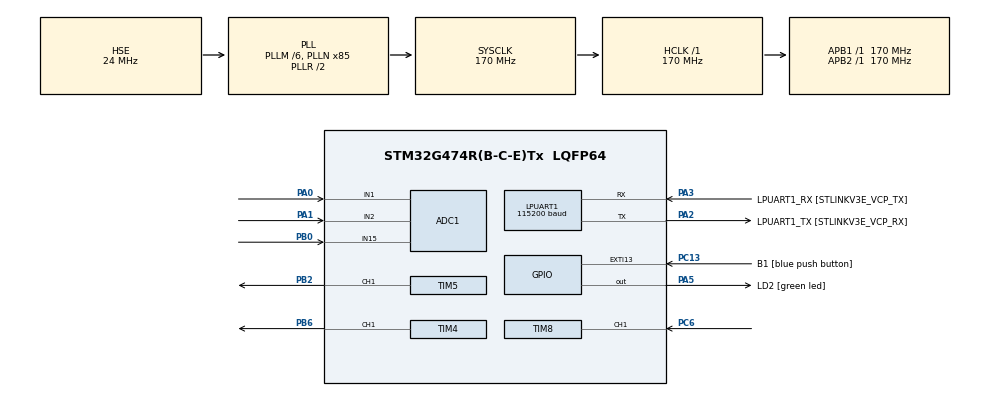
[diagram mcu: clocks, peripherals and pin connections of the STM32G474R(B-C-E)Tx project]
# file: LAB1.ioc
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ADC1.Channel-0\#ChannelRegularConversion=ADC_CHANNEL_1
ADC1.Channel-1\#ChannelRegularConversion=ADC_CHANNEL_2
ADC1.Channel-2\#ChannelRegularConversion=ADC_CHANNEL_15
ADC1.ContinuousConvMode=ENABLE
ADC1.DMAContinuousRequests=ENABLE
ADC1.ExternalTrigConv=ADC_EXTERNALTRIG_T3_TRGO
ADC1.NbrOfConversion=3
ADC1.NbrOfConversionFlag=1
ADC1.OffsetNumber-0\#ChannelRegularConversion=ADC_OFFSET_NONE
ADC1.OffsetNumber-1\#ChannelRegularConversion=ADC_OFFSET_NONE
ADC1.OffsetNumber-2\#ChannelRegularConversion=ADC_OFFSET_NONE
ADC1.Rank-0\#ChannelRegularConversion=1
ADC1.Rank-1\#ChannelRegularConversion=2
ADC1.Rank-2\#ChannelRegularConversion=3
ADC1.SamplingTime-0\#ChannelRegularConversion=ADC_SAMPLETIME_640CYCLES_5
ADC1.SamplingTime-1\#ChannelRegularConversion=ADC_SAMPLETIME_640CYCLES_5
ADC1.SamplingTime-2\#ChannelRegularConversion=ADC_SAMPLETIME_640CYCLES_5
ADC1.master=1
Dma.ADC1.0.Direction=DMA_PERIPH_TO_MEMORY
Dma.ADC1.0.EventEnable=DISABLE
Dma.ADC1.0.Instance=DMA1_Channel1
Dma.ADC1.0.MemDataAlignment=DMA_MDATAALIGN_HALFWORD
Dma.ADC1.0.MemInc=DMA_MINC_ENABLE
Dma.ADC1.0.Mode=DMA_CIRCULAR
Dma.ADC1.0.PeriphDataAlignment=DMA_PDATAALIGN_HALFWORD
Dma.ADC1.0.PeriphInc=DMA_PINC_DISABLE
Dma.ADC1.0.Polarity=HAL_DMAMUX_REQ_GEN_RISING
Dma.ADC1.0.Priority=DMA_PRIORITY_LOW
Dma.ADC1.0.RequestNumber=1
Dma.ADC1.0.SignalID=NONE
Dma.ADC1.0.SyncEnable=DISABLE
Dma.ADC1.0.SyncPolarity=HAL_DMAMUX_SYNC_NO_EVENT
Dma.ADC1.0.SyncRequestNumber=1
Dma.ADC1.0.SyncSignalID=NONE
Dma.Request0=ADC1
LPUART1.BaudRate=115200
LPUART1.WordLength=UART_WORDLENGTH_8B
Mcu.Family=STM32G4
Mcu.Name=STM32G474R(B-C-E)Tx
Mcu.Package=LQFP64
NVIC.DMA1_Channel1_IRQn=true\:0\:0\:false\:false\:true\:false\:true\:true
NVIC.EXTI15_10_IRQn=true\:0\:0\:false\:false\:true\:true\:true\:true
NVIC.PriorityGroup=NVIC_PRIORITYGROUP_4
NVIC.TIM2_IRQn=true\:0\:0\:false\:false\:true\:true\:true\:true
PA0.GPIO_Mode=GPIO_MODE_ANALOG
PA0.Mode=IN1-Single-Ended
PA0.Signal=ADC1_IN1
PA1.GPIO_Mode=GPIO_MODE_ANALOG
PA1.Mode=IN2-Single-Ended
PA1.Signal=ADC1_IN2
PA13.GPIO_Label=T_SWDIO
PA13.Mode=Serial_Wire
PA13.Signal=SYS_JTMS-SWDIO
PA14.GPIO_Label=T_SWCLK
PA14.Mode=Serial_Wire
PA14.Signal=SYS_JTCK-SWCLK
PA2.GPIO_Label=LPUART1_TX [STLINKV3E_VCP_RX]
PA2.Mode=Asynchronous
PA2.Signal=LPUART1_TX
PA3.GPIO_Label=LPUART1_RX [STLINKV3E_VCP_TX]
PA3.Mode=Asynchronous
PA3.Signal=LPUART1_RX
PA5.GPIO_Label=LD2 [green led]
PA5.Signal=GPIO_Output
PB0.GPIO_Mode=GPIO_MODE_ANALOG
PB0.Mode=IN15-Single-Ended
PB0.Signal=ADC1_IN15
PB2.Signal=S_TIM5_CH1
PB3.GPIO_Label=T_SWO
PB3.Signal=SYS_JTDO-SWO
PB6.Signal=S_TIM4_CH1
PC13.GPIO_Label=B1 [blue push button]
PC13.Signal=GPXTI13
PC14-OSC32_IN.Mode=LSE-External-Oscillator
PC14-OSC32_IN.Signal=RCC_OSC32_IN
PC15-OSC32_OUT.Mode=LSE-External-Oscillator
PC15-OSC32_OUT.Signal=RCC_OSC32_OUT
PC6.Signal=S_TIM8_CH1
PF0-OSC_IN.Mode=HSE-External-Oscillator
PF0-OSC_IN.Signal=RCC_OSC_IN
PF1-OSC_OUT.Mode=HSE-External-Oscillator
PF1-OSC_OUT.Signal=RCC_OSC_OUT
ProjectManager.HeapSize=0x200
ProjectManager.StackSize=0x400
ProjectManager.TargetToolchain=STM32CubeIDE
RCC.ADC12Freq_Value=170000000
RCC.ADC345Freq_Value=170000000
RCC.AHBFreq_Value=170000000
RCC.APB1Freq_Value=170000000
RCC.APB1TimFreq_Value=170000000
RCC.APB2Freq_Value=170000000
RCC.APB2TimFreq_Value=170000000
RCC.CortexFreq_Value=170000000
RCC.EXTERNAL_CLOCK_VALUE=12288000
RCC.HCLKFreq_Value=170000000
RCC.HSE_VALUE=24000000
RCC.HSI48_VALUE=48000000
RCC.HSI_VALUE=16000000
RCC.PLLM=RCC_PLLM_DIV6
RCC.PLLN=85
RCC.PLLSourceVirtual=RCC_PLLSOURCE_HSE
RCC.RTCClockSelection=RCC_RTCCLKSOURCE_LSE
RCC.SYSCLKFreq_VALUE=170000000
RCC.SYSCLKSource=RCC_SYSCLKSOURCE_PLLCLK
RCC.USBFreq_Value=170000000
RCC.VCOOutputFreq_Value=340000000
SH.S_TIM4_CH1.0=TIM4_CH1,PWM Generation1 CH1
SH.S_TIM5_CH1.0=TIM5_CH1,PWM Generation1 CH1
SH.S_TIM8_CH1.0=TIM8_CH1,PWM_Input_1
TIM2.PeriodNoDither=4294967295
TIM2.Prescaler=169
TIM3.PeriodNoDither=3
TIM3.Prescaler=16999
TIM3.TIM_MasterOutputTrigger=TIM_TRGO_UPDATE
TIM4.Channel-PWM\ Generation1\ CH1=TIM_CHANNEL_1
TIM4.PeriodNoDither=19999
TIM4.Prescaler=169
TIM4.PulseNoDither_1=2000
TIM5.Channel-PWM\ Generation1\ CH1=TIM_CHANNEL_1
TIM5.PeriodNoDither=20000
TIM5.Prescaler=169
TIM5.PulseNoDither_1=2000
TIM8.PeriodNoDither=20000
TIM8.Prescaler=169
VP_SYS_VS_DBSignals.Mode=DisableDeadBatterySignals
VP_TIM2_VS_ClockSourceINT.Mode=Internal
VP_TIM3_VS_ClockSourceINT.Mode=Internal
VP_TIM4_VS_ClockSourceINT.Mode=Internal
VP_TIM5_VS_ClockSourceINT.Mode=Internal
VP_TIM8_VS_ClockSourceINT.Mode=Internal
board=NUCLEO-G474RE

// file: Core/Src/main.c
/* USER CODE BEGIN Header */
/**
  ******************************************************************************
  * @file           : main.c
  * @brief          : Main program body
  ******************************************************************************
  * @attention
  *
  * Copyright (c) 2024 STMicroelectronics.
  * All rights reserved.
  *
  * This software is licensed under terms that can be found in the LICENSE file
  * in the root directory of this software component.
  * If no LICENSE file comes with this software, it is provided AS-IS.
  *
  ******************************************************************************
  */
/* USER CODE END Header */
#include "main.h"

ADC_HandleTypeDef hadc1;
DMA_HandleTypeDef hdma_adc1;

UART_HandleTypeDef hlpuart1;

TIM_HandleTypeDef htim2;
TIM_HandleTypeDef htim3;
TIM_HandleTypeDef htim4;
TIM_HandleTypeDef htim5;
TIM_HandleTypeDef htim8;

/* USER CODE BEGIN PV */
static uint64_t timestamp = 0;
uint32_t CountOver = 0;
uint32_t Counter_TIM2 = 4294967295;
uint16_t ADCBuffer[300] = {0};
uint16_t Pulse_Width;
int trim_Mode = 0;
int main_Mode = 0;
int ADC_Average[3] = {0};
int ADC_SumAPot[3] = {0};
/* USER CODE END PV */

void SystemClock_Config(void);
static void MX_GPIO_Init(void);
static void MX_DMA_Init(void);
static void MX_LPUART1_UART_Init(void);
static void MX_TIM2_Init(void);
static void MX_ADC1_Init(void);
static void MX_TIM3_Init(void);
static void MX_TIM4_Init(void);
static void MX_TIM5_Init(void);
static void MX_TIM8_Init(void);
/* USER CODE BEGIN PFP */
void Micros();
void ADC_Averaged();
void SetState();
/* USER CODE END PFP */

int main(void)
{

  /* MCU Configuration--------------------------------------------------------*/

  /* Reset of all peripherals, Initializes the Flash interface and the Systick. */
  HAL_Init();

  /* Configure the system clock */
  SystemClock_Config();

  /* Initialize all configured peripherals */
  MX_GPIO_Init();
  MX_DMA_Init();
  MX_LPUART1_UART_Init();
  MX_TIM2_Init();
  MX_ADC1_Init();
  MX_TIM3_Init();
  MX_TIM4_Init();
  MX_TIM5_Init();
  MX_TIM8_Init();
  /* USER CODE BEGIN 2 */
  HAL_TIM_Base_Start(&htim2); //Timer 64 Bit
  HAL_TIM_Base_Start(&htim3); //Timer for DMA
  HAL_TIM_Base_Start(&htim4); //Servo Out
  HAL_TIM_Base_Start(&htim5); //Tester Generator
  HAL_TIM_Base_Start(&htim8); //Input Capture Tester
  HAL_TIM_Base_Start_IT(&htim2);

  HAL_ADCEx_Calibration_Start(&hadc1, ADC_SINGLE_ENDED);
  HAL_ADC_Start_DMA(&hadc1, ADCBuffer, 300);
  HAL_TIM_PWM_Start(&htim4, TIM_CHANNEL_1);
  HAL_TIM_PWM_Start(&htim5, TIM_CHANNEL_1);
  HAL_TIM_IC_Start(&htim8, TIM_CHANNEL_1);
  HAL_TIM_IC_Start(&htim8, TIM_CHANNEL_2);

  /* USER CODE END 2 */

  /* Infinite loop */
  while (1)
  {

    /* USER CODE BEGIN 3 */
	  Micros();
	  ADC_Averaged();
	  SetState();
  }
  /* USER CODE END 3 */
}

void SystemClock_Config(void)
{
  RCC_OscInitTypeDef RCC_OscInitStruct = {0};
  RCC_ClkInitTypeDef RCC_ClkInitStruct = {0};

  /** Configure the main internal regulator output voltage
  */
  HAL_PWREx_ControlVoltageScaling(PWR_REGULATOR_VOLTAGE_SCALE1_BOOST);

  /** Initializes the RCC Oscillators according to the specified parameters
  * in the RCC_OscInitTypeDef structure.
  */
  RCC_OscInitStruct.OscillatorType = RCC_OSCILLATORTYPE_HSE;
  RCC_OscInitStruct.HSEState = RCC_HSE_ON;
  RCC_OscInitStruct.PLL.PLLState = RCC_PLL_ON;
  RCC_OscInitStruct.PLL.PLLSource = RCC_PLLSOURCE_HSE;
  RCC_OscInitStruct.PLL.PLLM = RCC_PLLM_DIV6;
  RCC_OscInitStruct.PLL.PLLN = 85;
  RCC_OscInitStruct.PLL.PLLP = RCC_PLLP_DIV2;
  RCC_OscInitStruct.PLL.PLLQ = RCC_PLLQ_DIV2;
  RCC_OscInitStruct.PLL.PLLR = RCC_PLLR_DIV2;
  if (HAL_RCC_OscConfig(&RCC_OscInitStruct) != HAL_OK)
  {
    Error_Handler();
  }

  /** Initializes the CPU, AHB and APB buses clocks
  */
  RCC_ClkInitStruct.ClockType = RCC_CLOCKTYPE_HCLK|RCC_CLOCKTYPE_SYSCLK
                              |RCC_CLOCKTYPE_PCLK1|RCC_CLOCKTYPE_PCLK2;
  RCC_ClkInitStruct.SYSCLKSource = RCC_SYSCLKSOURCE_PLLCLK;
  RCC_ClkInitStruct.AHBCLKDivider = RCC_SYSCLK_DIV1;
  RCC_ClkInitStruct.APB1CLKDivider = RCC_HCLK_DIV1;
  RCC_ClkInitStruct.APB2CLKDivider = RCC_HCLK_DIV1;

  if (HAL_RCC_ClockConfig(&RCC_ClkInitStruct, FLASH_LATENCY_4) != HAL_OK)
  {
    Error_Handler();
  }
}

static void MX_ADC1_Init(void)
{

  ADC_MultiModeTypeDef multimode = {0};
  ADC_ChannelConfTypeDef sConfig = {0};

  /** Common config
  */
  hadc1.Instance = ADC1;
  hadc1.Init.ClockPrescaler = ADC_CLOCK_SYNC_PCLK_DIV4;
  hadc1.Init.Resolution = ADC_RESOLUTION_12B;
  hadc1.Init.DataAlign = ADC_DATAALIGN_RIGHT;
  hadc1.Init.GainCompensation = 0;
  hadc1.Init.ScanConvMode = ADC_SCAN_ENABLE;
  hadc1.Init.EOCSelection = ADC_EOC_SINGLE_CONV;
  hadc1.Init.LowPowerAutoWait = DISABLE;
  hadc1.Init.ContinuousConvMode = ENABLE;
  hadc1.Init.NbrOfConversion = 3;
  hadc1.Init.DiscontinuousConvMode = DISABLE;
  hadc1.Init.ExternalTrigConv = ADC_EXTERNALTRIG_T3_TRGO;
  hadc1.Init.ExternalTrigConvEdge = ADC_EXTERNALTRIGCONVEDGE_RISING;
  hadc1.Init.DMAContinuousRequests = ENABLE;
  hadc1.Init.Overrun = ADC_OVR_DATA_PRESERVED;
  hadc1.Init.OversamplingMode = DISABLE;
  if (HAL_ADC_Init(&hadc1) != HAL_OK)
  {
    Error_Handler();
  }

  /** Configure the ADC multi-mode
  */
  multimode.Mode = ADC_MODE_INDEPENDENT;
  if (HAL_ADCEx_MultiModeConfigChannel(&hadc1, &multimode) != HAL_OK)
  {
    Error_Handler();
  }

  /** Configure Regular Channel
  */
  sConfig.Channel = ADC_CHANNEL_1;
  sConfig.Rank = ADC_REGULAR_RANK_1;
  sConfig.SamplingTime = ADC_SAMPLETIME_640CYCLES_5;
  sConfig.SingleDiff = ADC_SINGLE_ENDED;
  sConfig.OffsetNumber = ADC_OFFSET_NONE;
  sConfig.Offset = 0;
  if (HAL_ADC_ConfigChannel(&hadc1, &sConfig) != HAL_OK)
  {
    Error_Handler();
  }

  /** Configure Regular Channel
  */
  sConfig.Channel = ADC_CHANNEL_2;
  sConfig.Rank = ADC_REGULAR_RANK_2;
  if (HAL_ADC_ConfigChannel(&hadc1, &sConfig) != HAL_OK)
  {
    Error_Handler();
  }

  /** Configure Regular Channel
  */
  sConfig.Channel = ADC_CHANNEL_15;
  sConfig.Rank = ADC_REGULAR_RANK_3;
  if (HAL_ADC_ConfigChannel(&hadc1, &sConfig) != HAL_OK)
  {
    Error_Handler();
  }

}

static void MX_LPUART1_UART_Init(void)
{

  hlpuart1.Instance = LPUART1;
  hlpuart1.Init.BaudRate = 115200;
  hlpuart1.Init.WordLength = UART_WORDLENGTH_8B;
  hlpuart1.Init.StopBits = UART_STOPBITS_1;
  hlpuart1.Init.Parity = UART_PARITY_NONE;
  hlpuart1.Init.Mode = UART_MODE_TX_RX;
  hlpuart1.Init.HwFlowCtl = UART_HWCONTROL_NONE;
  hlpuart1.Init.OneBitSampling = UART_ONE_BIT_SAMPLE_DISABLE;
  hlpuart1.Init.ClockPrescaler = UART_PRESCALER_DIV1;
  hlpuart1.AdvancedInit.AdvFeatureInit = UART_ADVFEATURE_NO_INIT;
  if (HAL_UART_Init(&hlpuart1) != HAL_OK)
  {
    Error_Handler();
  }
  if (HAL_UARTEx_SetTxFifoThreshold(&hlpuart1, UART_TXFIFO_THRESHOLD_1_8) != HAL_OK)
  {
    Error_Handler();
  }
  if (HAL_UARTEx_SetRxFifoThreshold(&hlpuart1, UART_RXFIFO_THRESHOLD_1_8) != HAL_OK)
  {
    Error_Handler();
  }
  if (HAL_UARTEx_DisableFifoMode(&hlpuart1) != HAL_OK)
  {
    Error_Handler();
  }

}

static void MX_TIM2_Init(void)
{

  TIM_ClockConfigTypeDef sClockSourceConfig = {0};
  TIM_MasterConfigTypeDef sMasterConfig = {0};

  htim2.Instance = TIM2;
  htim2.Init.Prescaler = 169;
  htim2.Init.CounterMode = TIM_COUNTERMODE_UP;
  htim2.Init.Period = 4.294967295E9;
  htim2.Init.ClockDivision = TIM_CLOCKDIVISION_DIV1;
  htim2.Init.AutoReloadPreload = TIM_AUTORELOAD_PRELOAD_DISABLE;
  if (HAL_TIM_Base_Init(&htim2) != HAL_OK)
  {
    Error_Handler();
  }
  sClockSourceConfig.ClockSource = TIM_CLOCKSOURCE_INTERNAL;
  if (HAL_TIM_ConfigClockSource(&htim2, &sClockSourceConfig) != HAL_OK)
  {
    Error_Handler();
  }
  sMasterConfig.MasterOutputTrigger = TIM_TRGO_RESET;
  sMasterConfig.MasterSlaveMode = TIM_MASTERSLAVEMODE_DISABLE;
  if (HAL_TIMEx_MasterConfigSynchronization(&htim2, &sMasterConfig) != HAL_OK)
  {
    Error_Handler();
  }

}

static void MX_TIM3_Init(void)
{

  TIM_ClockConfigTypeDef sClockSourceConfig = {0};
  TIM_MasterConfigTypeDef sMasterConfig = {0};

  htim3.Instance = TIM3;
  htim3.Init.Prescaler = 16999;
  htim3.Init.CounterMode = TIM_COUNTERMODE_UP;
  htim3.Init.Period = 3;
  htim3.Init.ClockDivision = TIM_CLOCKDIVISION_DIV1;
  htim3.Init.AutoReloadPreload = TIM_AUTORELOAD_PRELOAD_DISABLE;
  if (HAL_TIM_Base_Init(&htim3) != HAL_OK)
  {
    Error_Handler();
  }
  sClockSourceConfig.ClockSource = TIM_CLOCKSOURCE_INTERNAL;
  if (HAL_TIM_ConfigClockSource(&htim3, &sClockSourceConfig) != HAL_OK)
  {
    Error_Handler();
  }
  sMasterConfig.MasterOutputTrigger = TIM_TRGO_UPDATE;
  sMasterConfig.MasterSlaveMode = TIM_MASTERSLAVEMODE_DISABLE;
  if (HAL_TIMEx_MasterConfigSynchronization(&htim3, &sMasterConfig) != HAL_OK)
  {
    Error_Handler();
  }

}

static void MX_TIM4_Init(void)
{

  TIM_ClockConfigTypeDef sClockSourceConfig = {0};
  TIM_MasterConfigTypeDef sMasterConfig = {0};
  TIM_OC_InitTypeDef sConfigOC = {0};

  htim4.Instance = TIM4;
  htim4.Init.Prescaler = 169;
  htim4.Init.CounterMode = TIM_COUNTERMODE_UP;
  htim4.Init.Period = 19999;
  htim4.Init.ClockDivision = TIM_CLOCKDIVISION_DIV1;
  htim4.Init.AutoReloadPreload = TIM_AUTORELOAD_PRELOAD_DISABLE;
  if (HAL_TIM_Base_Init(&htim4) != HAL_OK)
  {
    Error_Handler();
  }
  sClockSourceConfig.ClockSource = TIM_CLOCKSOURCE_INTERNAL;
  if (HAL_TIM_ConfigClockSource(&htim4, &sClockSourceConfig) != HAL_OK)
  {
    Error_Handler();
  }
  if (HAL_TIM_PWM_Init(&htim4) != HAL_OK)
  {
    Error_Handler();
  }
  sMasterConfig.MasterOutputTrigger = TIM_TRGO_RESET;
  sMasterConfig.MasterSlaveMode = TIM_MASTERSLAVEMODE_DISABLE;
  if (HAL_TIMEx_MasterConfigSynchronization(&htim4, &sMasterConfig) != HAL_OK)
  {
    Error_Handler();
  }
  sConfigOC.OCMode = TIM_OCMODE_PWM1;
  sConfigOC.Pulse = 2000;
  sConfigOC.OCPolarity = TIM_OCPOLARITY_HIGH;
  sConfigOC.OCFastMode = TIM_OCFAST_DISABLE;
  if (HAL_TIM_PWM_ConfigChannel(&htim4, &sConfigOC, TIM_CHANNEL_1) != HAL_OK)
  {
    Error_Handler();
  }
  HAL_TIM_MspPostInit(&htim4);

}

static void MX_TIM5_Init(void)
{

  TIM_ClockConfigTypeDef sClockSourceConfig = {0};
  TIM_MasterConfigTypeDef sMasterConfig = {0};
  TIM_OC_InitTypeDef sConfigOC = {0};

  htim5.Instance = TIM5;
  htim5.Init.Prescaler = 169;
  htim5.Init.CounterMode = TIM_COUNTERMODE_UP;
  htim5.Init.Period = 20000;
  htim5.Init.ClockDivision = TIM_CLOCKDIVISION_DIV1;
  htim5.Init.AutoReloadPreload = TIM_AUTORELOAD_PRELOAD_DISABLE;
  if (HAL_TIM_Base_Init(&htim5) != HAL_OK)
  {
    Error_Handler();
  }
  sClockSourceConfig.ClockSource = TIM_CLOCKSOURCE_INTERNAL;
  if (HAL_TIM_ConfigClockSource(&htim5, &sClockSourceConfig) != HAL_OK)
  {
    Error_Handler();
  }
  if (HAL_TIM_PWM_Init(&htim5) != HAL_OK)
  {
    Error_Handler();
  }
  sMasterConfig.MasterOutputTrigger = TIM_TRGO_RESET;
  sMasterConfig.MasterSlaveMode = TIM_MASTERSLAVEMODE_DISABLE;
  if (HAL_TIMEx_MasterConfigSynchronization(&htim5, &sMasterConfig) != HAL_OK)
  {
    Error_Handler();
  }
  sConfigOC.OCMode = TIM_OCMODE_PWM1;
  sConfigOC.Pulse = 2000;
  sConfigOC.OCPolarity = TIM_OCPOLARITY_HIGH;
  sConfigOC.OCFastMode = TIM_OCFAST_DISABLE;
  if (HAL_TIM_PWM_ConfigChannel(&htim5, &sConfigOC, TIM_CHANNEL_1) != HAL_OK)
  {
    Error_Handler();
  }
  HAL_TIM_MspPostInit(&htim5);

}

static void MX_TIM8_Init(void)
{

  TIM_ClockConfigTypeDef sClockSourceConfig = {0};
  TIM_SlaveConfigTypeDef sSlaveConfig = {0};
  TIM_IC_InitTypeDef sConfigIC = {0};
  TIM_MasterConfigTypeDef sMasterConfig = {0};

  htim8.Instance = TIM8;
  htim8.Init.Prescaler = 169;
  htim8.Init.CounterMode = TIM_COUNTERMODE_UP;
  htim8.Init.Period = 20000;
  htim8.Init.ClockDivision = TIM_CLOCKDIVISION_DIV1;
  htim8.Init.RepetitionCounter = 0;
  htim8.Init.AutoReloadPreload = TIM_AUTORELOAD_PRELOAD_DISABLE;
  if (HAL_TIM_Base_Init(&htim8) != HAL_OK)
  {
    Error_Handler();
  }
  sClockSourceConfig.ClockSource = TIM_CLOCKSOURCE_INTERNAL;
  if (HAL_TIM_ConfigClockSource(&htim8, &sClockSourceConfig) != HAL_OK)
  {
    Error_Handler();
  }
  if (HAL_TIM_IC_Init(&htim8) != HAL_OK)
  {
    Error_Handler();
  }
  sSlaveConfig.SlaveMode = TIM_SLAVEMODE_RESET;
  sSlaveConfig.InputTrigger = TIM_TS_TI1FP1;
  sSlaveConfig.TriggerPolarity = TIM_INPUTCHANNELPOLARITY_RISING;
  sSlaveConfig.TriggerPrescaler = TIM_ICPSC_DIV1;
  sSlaveConfig.TriggerFilter = 0;
  if (HAL_TIM_SlaveConfigSynchro(&htim8, &sSlaveConfig) != HAL_OK)
  {
    Error_Handler();
  }
  sConfigIC.ICPolarity = TIM_INPUTCHANNELPOLARITY_RISING;
  sConfigIC.ICSelection = TIM_ICSELECTION_DIRECTTI;
  sConfigIC.ICPrescaler = TIM_ICPSC_DIV1;
  sConfigIC.ICFilter = 0;
  if (HAL_TIM_IC_ConfigChannel(&htim8, &sConfigIC, TIM_CHANNEL_1) != HAL_OK)
  {
    Error_Handler();
  }
  sConfigIC.ICPolarity = TIM_INPUTCHANNELPOLARITY_FALLING;
  sConfigIC.ICSelection = TIM_ICSELECTION_INDIRECTTI;
  if (HAL_TIM_IC_ConfigChannel(&htim8, &sConfigIC, TIM_CHANNEL_2) != HAL_OK)
  {
    Error_Handler();
  }
  sMasterConfig.MasterOutputTrigger = TIM_TRGO_RESET;
  sMasterConfig.MasterOutputTrigger2 = TIM_TRGO2_RESET;
  sMasterConfig.MasterSlaveMode = TIM_MASTERSLAVEMODE_DISABLE;
  if (HAL_TIMEx_MasterConfigSynchronization(&htim8, &sMasterConfig) != HAL_OK)
  {
    Error_Handler();
  }

}

static void MX_DMA_Init(void)
{

  /* DMA controller clock enable */
  __HAL_RCC_DMAMUX1_CLK_ENABLE();
  __HAL_RCC_DMA1_CLK_ENABLE();

  /* DMA interrupt init */
  /* DMA1_Channel1_IRQn interrupt configuration */
  HAL_NVIC_SetPriority(DMA1_Channel1_IRQn, 0, 0);
  HAL_NVIC_EnableIRQ(DMA1_Channel1_IRQn);

}

static void MX_GPIO_Init(void)
{
  GPIO_InitTypeDef GPIO_InitStruct = {0};

  /* GPIO Ports Clock Enable */
  __HAL_RCC_GPIOC_CLK_ENABLE();
  __HAL_RCC_GPIOF_CLK_ENABLE();
  __HAL_RCC_GPIOA_CLK_ENABLE();
  __HAL_RCC_GPIOB_CLK_ENABLE();

  /*Configure GPIO pin Output Level */
  HAL_GPIO_WritePin(LD2_GPIO_Port, LD2_Pin, GPIO_PIN_RESET);

  /*Configure GPIO pin : B1_Pin */
  GPIO_InitStruct.Pin = B1_Pin;
  GPIO_InitStruct.Mode = GPIO_MODE_IT_RISING;
  GPIO_InitStruct.Pull = GPIO_NOPULL;
  HAL_GPIO_Init(B1_GPIO_Port, &GPIO_InitStruct);

  /*Configure GPIO pin : LD2_Pin */
  GPIO_InitStruct.Pin = LD2_Pin;
  GPIO_InitStruct.Mode = GPIO_MODE_OUTPUT_PP;
  GPIO_InitStruct.Pull = GPIO_NOPULL;
  GPIO_InitStruct.Speed = GPIO_SPEED_FREQ_LOW;
  HAL_GPIO_Init(LD2_GPIO_Port, &GPIO_InitStruct);

  /* EXTI interrupt init*/
  HAL_NVIC_SetPriority(EXTI15_10_IRQn, 0, 0);
  HAL_NVIC_EnableIRQ(EXTI15_10_IRQn);

}

/* USER CODE BEGIN 4 */

void Micros()
{
	timestamp = (CountOver * Counter_TIM2) + __HAL_TIM_GET_COUNTER(&htim2);
}

void ADC_Averaged()
{
	for (int i = 0; i < 100; i++)
	{
		ADC_SumAPot[0] += ADCBuffer[3*i];
		ADC_SumAPot[1] += ADCBuffer[1+(3*i)];
		ADC_SumAPot[2] += ADCBuffer[2+(3*i)];
	}

	for (int i = 0; i < 3; i++)
	{
		ADC_Average[i] = ADC_SumAPot[i] / 100;
		ADC_SumAPot[i] = 0;
	}
}

void SetState()
{
	int trimpot_1 = ADC_Average[0];
	int trimpot_2 = ((ADC_Average[1] * 2000) / 4095) + 500;
	int trimpot_3 = ((ADC_Average[2] * 2000) / 4095) + 500;

	if (main_Mode == 0)
	{
		if (trimpot_1 <= 1024)
		{
			trim_Mode = 1;
			__HAL_TIM_SET_COMPARE(&htim4, TIM_CHANNEL_1, 500);
		}
		else if (trimpot_1 <= 2048)
		{
			trim_Mode = 2;
			__HAL_TIM_SET_COMPARE(&htim4, TIM_CHANNEL_1, trimpot_2);
		}
		else if (trimpot_1 <= 3072)
		{
			trim_Mode = 3;
			__HAL_TIM_SET_COMPARE(&htim4, TIM_CHANNEL_1, trimpot_3);
		}
		else
		{
			trim_Mode = 4;
			__HAL_TIM_SET_COMPARE(&htim4, TIM_CHANNEL_1, 2500);
		}
	}
	else if (main_Mode == 1)
	{
		__HAL_TIM_SET_COMPARE(&htim5, TIM_CHANNEL_1, ((trimpot_1 * 1100) / 4095) + 900);
		Pulse_Width = __HAL_TIM_GET_COMPARE(&htim8, TIM_CHANNEL_2);
		__HAL_TIM_SET_COMPARE(&htim4, TIM_CHANNEL_1, Pulse_Width);
	}
}

void HAL_GPIO_EXTI_Callback(uint16_t GPIO_Pin)
{
	if (GPIO_Pin == GPIO_PIN_13)
	{
		if (main_Mode == 0) main_Mode = 1;
		else if (main_Mode == 1) main_Mode = 0;
	}
}

void HAL_TIM_PeriodElapsedCallback(TIM_HandleTypeDef *htim)
{
	if(htim == &htim2)
	{
		CountOver++;
	}
}
/* USER CODE END 4 */

void Error_Handler(void)
{
  __disable_irq();
  while (1)
  {
  }
}
